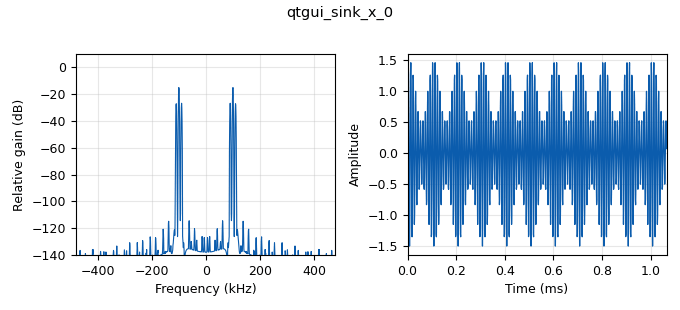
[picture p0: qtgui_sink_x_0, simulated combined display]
options:
  parameters:
    author: pranav
    generate_options: qt_gui
    id: default_1
    output_language: python
    title: DSB-FC
  states: {}

blocks:
- name: quadrature_rate
  id: variable
  parameters:
    value: 960e3
  states: {}
- name: samp_rate
  id: variable
  parameters:
    value: '48000'
  states: {}
- name: analog_const_source_x_0
  id: analog_const_source_x
  parameters:
    const: '0.5'
    type: float
  states: {}
- name: blocks_add_xx_0
  id: blocks_add_xx
  parameters:
    type: float
  states: {}
- name: blocks_multiply_xx_0
  id: blocks_multiply_xx
  parameters:
    num_inputs: '3'
    type: float
  states: {}
- name: blocks_throttle_0
  id: blocks_throttle
  parameters:
    samples_per_second: quadrature_rate
    type: float
  states: {}
- name: message
  id: analog_sig_source_x
  parameters:
    amp: '1'
    freq: '10000'
    offset: '0'
    phase: '0'
    samp_rate: samp_rate
    type: float
    waveform: analog.GR_COS_WAVE
  states: {}
- name: message_0
  id: analog_sig_source_x
  parameters:
    amp: '1'
    freq: '100000'
    offset: '0'
    phase: '0'
    samp_rate: quadrature_rate
    type: float
    waveform: analog.GR_COS_WAVE
  states: {}
- name: qtgui_sink_x_0
  id: qtgui_sink_x
  parameters:
    bw: quadrature_rate
    fc: '0'
    fftsize: '1024'
    type: float
    wintype: firdes.WIN_BLACKMAN_hARRIS
  states: {}
- name: rational_resampler_xxx_0
  id: rational_resampler_xxx
  parameters:
    decim: '48'
    fbw: '0.4'
    interp: '960'
    taps: ''
    type: fff
  states: {}

connections:
- [analog_const_source_x_0, '0', blocks_multiply_xx_0, '0']
- [blocks_add_xx_0, '0', blocks_throttle_0, '0']
- [blocks_multiply_xx_0, '0', blocks_add_xx_0, '0']
- [blocks_throttle_0, '0', qtgui_sink_x_0, '0']
- [message, '0', rational_resampler_xxx_0, '0']
- [message_0, '0', blocks_add_xx_0, '1']
- [message_0, '0', blocks_multiply_xx_0, '2']
- [rational_resampler_xxx_0, '0', blocks_multiply_xx_0, '1']

metadata:
  file_format: 1
